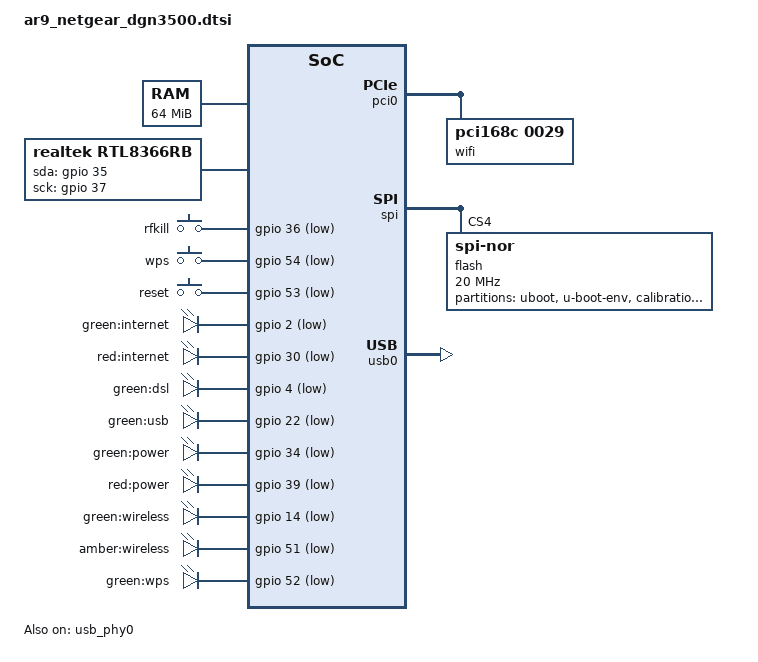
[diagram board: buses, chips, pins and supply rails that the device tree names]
#include "ar9.dtsi"

#include <dt-bindings/input/input.h>

/ {
	chosen {
		bootargs = "root= console=ttyLTQ0,115200";
	};

	aliases {
		led-boot = &power_green;
		led-failsafe = &power_red;
		led-running = &power_green;
		led-upgrade = &power_green;

		led-dsl = &dsl;
		led-internet = &internet;
		led-usb = &led_usb;
		led-wifi = &wifi_green;
	};

	memory@0 {
		device_type = "memory";
		reg = <0x0 0x4000000>;
	};

	rtl8366rb {
		compatible = "realtek,rtl8366rb";
		gpio-sda = <&gpio 35 GPIO_ACTIVE_HIGH>;
		gpio-sck = <&gpio 37 GPIO_ACTIVE_HIGH>;

		realtek,initvals = <
			0x0000 0x0830
			0x0400 0x8130
			0x000a 0x83ed
			0x0f51 0x0017
			0x02f5 0x0048
			0x02fa 0xffdf
			0x02fb 0xffe0
			0x0450 0x0000
			0x0401 0x0000
			0x0431 0x0960
		>;
	};

	keys {
		compatible = "gpio-keys-polled";
		poll-interval = <100>;

		rfkill {
			label = "rfkill";
			gpios = <&gpio 36 GPIO_ACTIVE_LOW>;
			linux,code = <KEY_RFKILL>;
		};
		wps {
			label = "wps";
			gpios = <&gpio 54 GPIO_ACTIVE_LOW>;
			linux,code = <KEY_WPS_BUTTON>;
		};
		reset {
			label = "reset";
			gpios = <&gpio 53 GPIO_ACTIVE_LOW>;
			linux,code = <KEY_RESTART>;
		};
	};

	leds {
		compatible = "gpio-leds";
		internet: internet {
			label = "green:internet";
			gpios = <&gpio 2 GPIO_ACTIVE_LOW>;
		};
		internet2 {
			label = "red:internet";
			gpios = <&gpio 30 GPIO_ACTIVE_LOW>;
		};
		dsl: dsl {
			label = "green:dsl";
			gpios = <&gpio 4 GPIO_ACTIVE_LOW>;
		};
		led_usb: usb {
			label = "green:usb";
			gpios = <&gpio 22 GPIO_ACTIVE_LOW>;
		};
		power_green: power {
			label = "green:power";
			gpios = <&gpio 34 GPIO_ACTIVE_LOW>;
			default-state = "keep";
		};
		power_red: power2 {
			label = "red:power";
			gpios = <&gpio 39 GPIO_ACTIVE_LOW>;
		};
		wifi_green: wifi {
			label = "green:wireless";
			gpios = <&gpio 14 GPIO_ACTIVE_LOW>;
		};
		wifi2 {
			label = "amber:wireless";
			gpios = <&gpio 51 GPIO_ACTIVE_LOW>;
		};
		wps {
			label = "green:wps";
			gpios = <&gpio 52 GPIO_ACTIVE_LOW>;
		};
	};
};

&gpio {
	pinctrl-names = "default";
	pinctrl-0 = <&state_default>;

	state_default: pinmux {
		exin {
			lantiq,groups = "exin1";
			lantiq,function = "exin";
		};
	};
};

&gsw {
	phy-mode = "mii";
};

&pci0 {
	status = "okay";

	pinctrl-0 = <&pci_gnt1_pins>, <&pci_req1_pins>;
	pinctrl-names = "default";

	gpio-reset = <&gpio 21 GPIO_ACTIVE_HIGH>;

	wifi@168c,0029 {
		compatible = "pci168c,0029";
		reg = <0x7000 0 0 0 0>;
		qca,no-eeprom; /* load from ath9k-eeprom-pci-0000:00:0e.0.bin */
	};
};

&spi {
	status = "okay";

	flash@4 {
		compatible = "jedec,spi-nor";
		reg = <4>;
		spi-max-frequency = <20000000>;

		partitions {
			compatible = "fixed-partitions";
			#address-cells = <1>;
			#size-cells = <1>;

			partition@0 {
				reg = <0x0 0x10000>;
				label = "uboot";
				read-only;
			};

			partition@10000 {
				reg = <0x10000 0x10000>;
				label = "u-boot-env";
				read-only;
			};

			ath9k_cal: partition@20000 {
				reg = <0x20000 0x10000>;
				label = "calibration";
				read-only;
			};

			partition@50000 {
				reg = <0x50000 0xfa0000>;
				label = "firmware";
			};
		};
	};
};

&usb_phy0 {
	status = "okay";
};

&usb0 {
	status = "okay";
};
